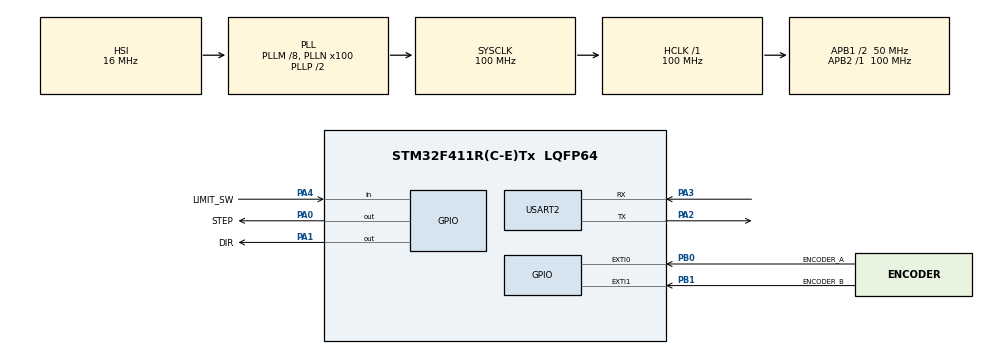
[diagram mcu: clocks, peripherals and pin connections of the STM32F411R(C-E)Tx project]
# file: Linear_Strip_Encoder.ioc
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FREERTOS.Tasks01=EncoderTask,0,128,StartEncoderTask,Default,NULL,Dynamic,NULL,NULL;MotorTask,-1,128,StartMotorTask,Default,NULL,Dynamic,NULL,NULL
Mcu.Family=STM32F4
Mcu.Name=STM32F411R(C-E)Tx
Mcu.Package=LQFP64
NVIC.EXTI0_IRQn=true\:5\:0\:false\:false\:true\:true\:true\:true\:true
NVIC.EXTI1_IRQn=true\:5\:0\:false\:false\:true\:true\:true\:true\:true
NVIC.PriorityGroup=NVIC_PRIORITYGROUP_4
NVIC.TIM2_IRQn=true\:15\:0\:false\:false\:true\:false\:false\:true\:true
NVIC.TimeBase=TIM2_IRQn
NVIC.TimeBaseIP=TIM2
NVIC.USART2_IRQn=true\:5\:0\:false\:false\:true\:true\:true\:true\:true
PA0-WKUP.GPIO_Label=STEP
PA0-WKUP.Signal=GPIO_Output
PA1.GPIO_Label=DIR
PA1.Signal=GPIO_Output
PA2.Mode=Asynchronous
PA2.Signal=USART2_TX
PA3.Mode=Asynchronous
PA3.Signal=USART2_RX
PA4.GPIO_Label=LIMIT_SW
PA4.GPIO_PuPd=GPIO_PULLUP
PA4.Signal=GPIO_Input
PB0.GPIO_Label=ENCODER_A
PB0.GPIO_ModeDefaultEXTI=GPIO_MODE_IT_RISING_FALLING
PB0.GPIO_PuPd=GPIO_PULLUP
PB0.Signal=GPXTI0
PB1.GPIO_Label=ENCODER_B
PB1.GPIO_ModeDefaultEXTI=GPIO_MODE_IT_RISING_FALLING
PB1.GPIO_PuPd=GPIO_PULLUP
PB1.Signal=GPXTI1
PH0\ -\ OSC_IN.Mode=HSE-External-Oscillator
PH0\ -\ OSC_IN.Signal=RCC_OSC_IN
PH1\ -\ OSC_OUT.Mode=HSE-External-Oscillator
PH1\ -\ OSC_OUT.Signal=RCC_OSC_OUT
ProjectManager.HeapSize=0x200
ProjectManager.StackSize=0x400
ProjectManager.TargetToolchain=STM32CubeIDE
RCC.48MHZClocksFreq_Value=50000000
RCC.AHBFreq_Value=100000000
RCC.APB1CLKDivider=RCC_HCLK_DIV2
RCC.APB1Freq_Value=50000000
RCC.APB1TimFreq_Value=100000000
RCC.APB2Freq_Value=100000000
RCC.APB2TimFreq_Value=100000000
RCC.CortexFreq_Value=100000000
RCC.FLatency-AdvancedSettings=FLASH_LATENCY_3
RCC.HCLKFreq_Value=100000000
RCC.HSE_VALUE=8000000
RCC.HSI_VALUE=16000000
RCC.LSE_VALUE=32768
RCC.PLLM=8
RCC.PLLN=100
RCC.SYSCLKFreq_VALUE=100000000
RCC.SYSCLKSource=RCC_SYSCLKSOURCE_PLLCLK
RCC.VCOOutputFreq_Value=200000000
TIM1.Prescaler=90
USART2.VirtualMode=VM_ASYNC
VP_FREERTOS_VS_CMSIS_V1.Mode=CMSIS_V1
VP_SYS_VS_tim2.Mode=TIM2
VP_TIM1_VS_ClockSourceINT.Mode=Internal
board=NUCLEO-F411RE

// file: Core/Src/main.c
/* USER CODE BEGIN Header */
/**
  ******************************************************************************
  * @file           : main.c
  * @brief          : Main program body
  ******************************************************************************
  * @attention
  *
  * Copyright (c) 2024 STMicroelectronics.
  * All rights reserved.
  *
  * This software is licensed under terms that can be found in the LICENSE file
  * in the root directory of this software component.
  * If no LICENSE file comes with this software, it is provided AS-IS.
  *
  ******************************************************************************
  */
/* USER CODE END Header */
#include "main.h"
#include "cmsis_os.h"

/* USER CODE BEGIN Includes */
#include "PlebcStepper.h"
#include "stdio.h"
#include "stdint.h"
#include "string.h"
#include "stdlib.h"
/* USER CODE END Includes */

/* USER CODE BEGIN PTD */
int rpm = 50;
int motorSetSteps = 6400;

volatile int lastEncoded = 0;
volatile long encoderValue = 0;
int lastMSB = 0;
int lastLSB = 0;

char received_char;
int input_distance= 0;
#define BUFFER_SIZE 50
char received_string[BUFFER_SIZE];
int received_index = 0;

long int updatedEncoderValue;
long int currentPosition = 0;
float targetPosition = 0;
long int positionToMove = 0;
int stepsToMove = 0;
//float encoderPulseValue = 2400.00; //encoder values in one rotation
float enc_val_in_1rev = 1130.00; //encoder values in 1 revolution
int mm_in_1rev = 40; //distance covered on 1 revolution (in mm)
/* USER CODE END PTD */

/* USER CODE BEGIN PD */

/* Pins on Board */
//	PA0 -> STEP
//	PA1 -> DIR
//	PA2 -> USART2_TX
//	PA3 -> USART2_RX
//	PA4 -> LIMIT_SW
//	PB0 -> ENCODER_A
//	PB1 -> ENCODER_B

//	1mm = 160 steps
/*------------------*/

/* USER CODE END PD */

TIM_HandleTypeDef htim1;

UART_HandleTypeDef huart2;

osThreadId EncoderTaskHandle;
osThreadId MotorTaskHandle;

void SystemClock_Config(void);
static void MX_GPIO_Init(void);
static void MX_TIM1_Init(void);
static void MX_USART2_UART_Init(void);
void StartEncoderTask(void const * argument);
void StartMotorTask(void const * argument);

/* USER CODE BEGIN 0 */
void updateEncoder(void)
{
  int MSB = HAL_GPIO_ReadPin(GPIOB, ENCODER_A_Pin);
  int LSB = HAL_GPIO_ReadPin(GPIOB, ENCODER_B_Pin);

  int encoded = (MSB << 1) | LSB;
  int sum = (lastEncoded << 2) | encoded;

  if (sum == 0b1101 || sum == 0b0100 || sum == 0b0010 || sum == 0b1011)
    encoderValue++;
  if (sum == 0b1110 || sum == 0b0111 || sum == 0b0001 || sum == 0b1000)
    encoderValue--;

  lastEncoded = encoded;
}

void HAL_GPIO_EXTI_Callback(uint16_t GPIO_Pin)
{
  if (GPIO_Pin == ENCODER_A_Pin || GPIO_Pin == ENCODER_B_Pin)
  {
    updateEncoder();
  }
}

// Forward declaration of the receive function
void UART_StartReceive(void);

char RxString[10];

void HAL_UART_RxCpltCallback(UART_HandleTypeDef *huart)
{
    if (huart->Instance == USART2)
    {
        if (received_char == '/')
        {
            // Initialize the received string buffer
            received_index = 0;
            memset(received_string, 0, sizeof(received_string));
        }
        else if (received_char == '*')
        {
            // Null-terminate the string
            received_string[received_index] = '\0';
            // Parse the received string to an integer
            input_distance = atoi(received_string);
//            motor_run = 1; // Set flag to start motor
        }
        else
        {
            // Store the received character in the buffer
            if (received_index < sizeof(received_string) - 1)
            {
                received_string[received_index++] = received_char;
            }
        }

        // Re-enable UART receive interrupt
        HAL_UART_Receive_IT(&huart2, (uint8_t *)&received_char,  1);

    }
}

// Function to start UART reception
void UART_StartReceive(void)
{
  HAL_UART_Receive_IT(&huart2, (uint8_t *)&received_char,  1);
}
/* USER CODE END 0 */

int main(void)
{

  /* MCU Configuration--------------------------------------------------------*/

  /* Reset of all peripherals, Initializes the Flash interface and the Systick. */
  HAL_Init();

  /* USER CODE BEGIN Init */
  HAL_UART_Receive_IT(&huart2, (uint8_t *)&received_char,  1);
  /* USER CODE END Init */

  /* Configure the system clock */
  SystemClock_Config();

  /* Initialize all configured peripherals */
  MX_GPIO_Init();
  MX_TIM1_Init();
  MX_USART2_UART_Init();
  /* USER CODE BEGIN 2 */
  HAL_TIM_Base_Start(&htim1);
  /* USER CODE END 2 */

  /* Create the thread(s) */
  /* definition and creation of EncoderTask */
  osThreadDef(EncoderTask, StartEncoderTask, osPriorityNormal, 0, 128);
  EncoderTaskHandle = osThreadCreate(osThread(EncoderTask), NULL);

  /* definition and creation of MotorTask */
  osThreadDef(MotorTask, StartMotorTask, osPriorityBelowNormal, 0, 128);
  MotorTaskHandle = osThreadCreate(osThread(MotorTask), NULL);

  /* Start scheduler */
  osKernelStart();
  /* We should never get here as control is now taken by the scheduler */
  /* Infinite loop */
  while (1)
  {

  }
}

void SystemClock_Config(void)
{
  RCC_OscInitTypeDef RCC_OscInitStruct = {0};
  RCC_ClkInitTypeDef RCC_ClkInitStruct = {0};

  /** Configure the main internal regulator output voltage
  */
  __HAL_RCC_PWR_CLK_ENABLE();
  __HAL_PWR_VOLTAGESCALING_CONFIG(PWR_REGULATOR_VOLTAGE_SCALE1);

  /** Initializes the RCC Oscillators according to the specified parameters
  * in the RCC_OscInitTypeDef structure.
  */
  RCC_OscInitStruct.OscillatorType = RCC_OSCILLATORTYPE_HSI;
  RCC_OscInitStruct.HSIState = RCC_HSI_ON;
  RCC_OscInitStruct.HSICalibrationValue = RCC_HSICALIBRATION_DEFAULT;
  RCC_OscInitStruct.PLL.PLLState = RCC_PLL_ON;
  RCC_OscInitStruct.PLL.PLLSource = RCC_PLLSOURCE_HSI;
  RCC_OscInitStruct.PLL.PLLM = 8;
  RCC_OscInitStruct.PLL.PLLN = 100;
  RCC_OscInitStruct.PLL.PLLP = RCC_PLLP_DIV2;
  RCC_OscInitStruct.PLL.PLLQ = 4;
  if (HAL_RCC_OscConfig(&RCC_OscInitStruct) != HAL_OK)
  {
    Error_Handler();
  }

  /** Initializes the CPU, AHB and APB buses clocks
  */
  RCC_ClkInitStruct.ClockType = RCC_CLOCKTYPE_HCLK|RCC_CLOCKTYPE_SYSCLK
                              |RCC_CLOCKTYPE_PCLK1|RCC_CLOCKTYPE_PCLK2;
  RCC_ClkInitStruct.SYSCLKSource = RCC_SYSCLKSOURCE_PLLCLK;
  RCC_ClkInitStruct.AHBCLKDivider = RCC_SYSCLK_DIV1;
  RCC_ClkInitStruct.APB1CLKDivider = RCC_HCLK_DIV2;
  RCC_ClkInitStruct.APB2CLKDivider = RCC_HCLK_DIV1;

  if (HAL_RCC_ClockConfig(&RCC_ClkInitStruct, FLASH_LATENCY_3) != HAL_OK)
  {
    Error_Handler();
  }
}

static void MX_TIM1_Init(void)
{

  TIM_ClockConfigTypeDef sClockSourceConfig = {0};
  TIM_MasterConfigTypeDef sMasterConfig = {0};

  htim1.Instance = TIM1;
  htim1.Init.Prescaler = 90;
  htim1.Init.CounterMode = TIM_COUNTERMODE_UP;
  htim1.Init.Period = 65535;
  htim1.Init.ClockDivision = TIM_CLOCKDIVISION_DIV1;
  htim1.Init.RepetitionCounter = 0;
  htim1.Init.AutoReloadPreload = TIM_AUTORELOAD_PRELOAD_DISABLE;
  if (HAL_TIM_Base_Init(&htim1) != HAL_OK)
  {
    Error_Handler();
  }
  sClockSourceConfig.ClockSource = TIM_CLOCKSOURCE_INTERNAL;
  if (HAL_TIM_ConfigClockSource(&htim1, &sClockSourceConfig) != HAL_OK)
  {
    Error_Handler();
  }
  sMasterConfig.MasterOutputTrigger = TIM_TRGO_RESET;
  sMasterConfig.MasterSlaveMode = TIM_MASTERSLAVEMODE_DISABLE;
  if (HAL_TIMEx_MasterConfigSynchronization(&htim1, &sMasterConfig) != HAL_OK)
  {
    Error_Handler();
  }

}

static void MX_USART2_UART_Init(void)
{

  huart2.Instance = USART2;
  huart2.Init.BaudRate = 115200;
  huart2.Init.WordLength = UART_WORDLENGTH_8B;
  huart2.Init.StopBits = UART_STOPBITS_1;
  huart2.Init.Parity = UART_PARITY_NONE;
  huart2.Init.Mode = UART_MODE_TX_RX;
  huart2.Init.HwFlowCtl = UART_HWCONTROL_NONE;
  huart2.Init.OverSampling = UART_OVERSAMPLING_16;
  if (HAL_UART_Init(&huart2) != HAL_OK)
  {
    Error_Handler();
  }
  /* USER CODE BEGIN USART2_Init 2 */
  // Enable the UART receive interrupt
  HAL_UART_Receive_IT(&huart2, (uint8_t *)&received_char,  1);

  /* USER CODE END USART2_Init 2 */

}

static void MX_GPIO_Init(void)
{
  GPIO_InitTypeDef GPIO_InitStruct = {0};

  /* GPIO Ports Clock Enable */
  __HAL_RCC_GPIOH_CLK_ENABLE();
  __HAL_RCC_GPIOA_CLK_ENABLE();
  __HAL_RCC_GPIOB_CLK_ENABLE();

  /*Configure GPIO pin Output Level */
  HAL_GPIO_WritePin(GPIOA, STEP_Pin|DIR_Pin, GPIO_PIN_RESET);

  /*Configure GPIO pins : STEP_Pin DIR_Pin */
  GPIO_InitStruct.Pin = STEP_Pin|DIR_Pin;
  GPIO_InitStruct.Mode = GPIO_MODE_OUTPUT_PP;
  GPIO_InitStruct.Pull = GPIO_NOPULL;
  GPIO_InitStruct.Speed = GPIO_SPEED_FREQ_LOW;
  HAL_GPIO_Init(GPIOA, &GPIO_InitStruct);

  /*Configure GPIO pin : LIMIT_SW_Pin */
  GPIO_InitStruct.Pin = LIMIT_SW_Pin;
  GPIO_InitStruct.Mode = GPIO_MODE_INPUT;
  GPIO_InitStruct.Pull = GPIO_PULLUP;
  HAL_GPIO_Init(LIMIT_SW_GPIO_Port, &GPIO_InitStruct);

  /*Configure GPIO pins : ENCODER_A_Pin ENCODER_B_Pin */
  GPIO_InitStruct.Pin = ENCODER_A_Pin|ENCODER_B_Pin;
  GPIO_InitStruct.Mode = GPIO_MODE_IT_RISING_FALLING;
  GPIO_InitStruct.Pull = GPIO_PULLUP;
  HAL_GPIO_Init(GPIOB, &GPIO_InitStruct);

  /* EXTI interrupt init*/
  HAL_NVIC_SetPriority(EXTI0_IRQn, 5, 0);
  HAL_NVIC_EnableIRQ(EXTI0_IRQn);

  HAL_NVIC_SetPriority(EXTI1_IRQn, 5, 0);
  HAL_NVIC_EnableIRQ(EXTI1_IRQn);

}

void StartEncoderTask(void const * argument)
{
  /* USER CODE BEGIN 5 */
  /* Infinite loop */
  for(;;)
  {
//	// Display input steps
//	char msg2[25];
//	snprintf(msg2, sizeof(msg2), "input_distance: %d\r\n", input_distance);
//	HAL_UART_Transmit(&huart2, (uint8_t*)msg2, strlen(msg2), 5);
//	osDelay(200);
//
//	__disable_irq();
//	updatedEncoderValue = encoderValue;
//	__enable_irq();
//	char msg[25];
//	snprintf(msg, sizeof(msg), "distance covered: %d	", ((int)(updatedEncoderValue*(mm_in_1rev/enc_val_in_1rev))));
//	HAL_UART_Transmit(&huart2, (uint8_t*)msg, strlen(msg), 5);
	osDelay(10);

  }
  /* USER CODE END 5 */
}

/* USER CODE BEGIN Header_StartMotorTask */
/**
* @brief Function implementing the MotorTask thread.
* @param argument: Not used
* @retval None
*/

// Function to initialize motor position
void homePosition(MotorConfig* motor) {
    // Move motor backward until limit switch is triggered
    while (HAL_GPIO_ReadPin(LIMIT_SW_GPIO_Port, LIMIT_SW_Pin) == GPIO_PIN_SET) {
    	// Calculate the new speed and step interval
		unsigned long stepInterval = computeNewSpeed();

		// Generate a step pulse with the calculated interval
		HAL_GPIO_WritePin(motor->STEP_PORT, motor->STEP_PIN, GPIO_PIN_SET);
		microDelay(stepInterval / 2);  // Half of the interval for the high pulse
		HAL_GPIO_WritePin(motor->STEP_PORT, motor->STEP_PIN, GPIO_PIN_RESET);
		microDelay(stepInterval / 2);  // Half of the interval for the low pulse
    }
    HAL_Delay(300);
    // move motor forward 3mm or 480 steps
    motorMove(motor, 480); // motor will move 3mm or 480 steps after hitting the limit switch
    // Set encoder value to zero
    __disable_irq();
    encoderValue = 0;
    __enable_irq();
}

/* USER CODE END Header_StartMotorTask */
void StartMotorTask(void const * argument)
{
  /* USER CODE BEGIN StartMotorTask */

  // Define motor configurations
  MotorConfig motor1 = {GPIOA, GPIO_PIN_1, GPIOA, GPIO_PIN_0};

  // Setup stepper motor parameters
  setRPM(rpm, motorSetSteps); // (RPM, Steps)
  setAcceleration(20.0f); // Set acceleration in steps per second^2

  // Initialize motor position
   homePosition(&motor1);

  /* Infinite loop */
  for(;;)
  {

    // Disable interrupts and read the encoder value
//    __disable_irq();
    currentPosition = encoderValue; // Read the latest encoder value
//    __enable_irq();

	// Calculate target position with floating-point division
	//targetPosition = input_distance * ((float)encoderPulseValue / 360.0f); // in encoder value
	targetPosition = input_distance * (enc_val_in_1rev/mm_in_1rev); // in encoder value

	// Calculate position to move
	positionToMove = (long int)targetPosition - currentPosition; // in encoder value

	// Calculate steps to move
	//stepsToMove = positionToMove * (motorSetSteps / (float)encoderPulseValue);
	stepsToMove = positionToMove * (motorSetSteps / (float)enc_val_in_1rev);

	// Move motor
	motorMove(&motor1, stepsToMove);

	osDelay(100);
  }
  /* USER CODE END StartMotorTask */
}

void HAL_TIM_PeriodElapsedCallback(TIM_HandleTypeDef *htim)
{
  if (htim->Instance == TIM2) {
    HAL_IncTick();
  }
}

void Error_Handler(void)
{
  __disable_irq();
  while (1)
  {
  }
}
